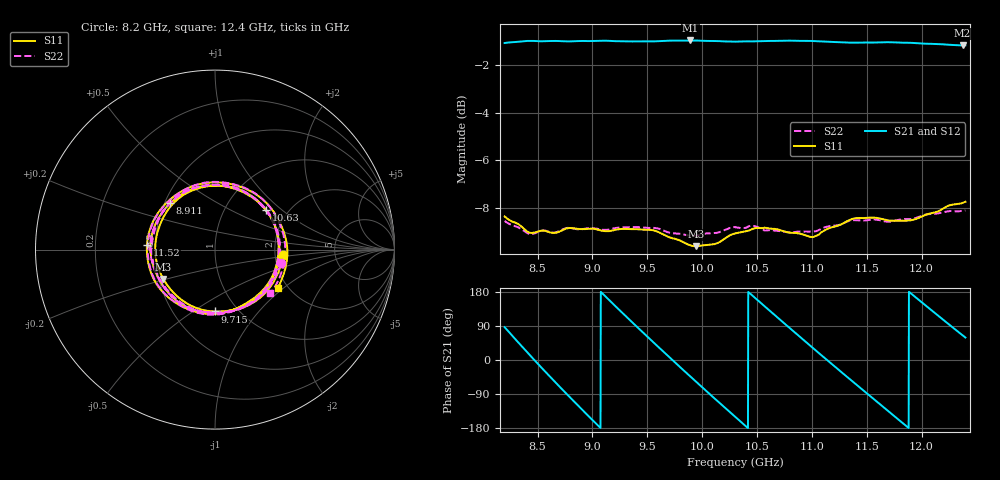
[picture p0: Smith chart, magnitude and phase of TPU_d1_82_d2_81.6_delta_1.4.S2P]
!Agilent Technologies,E5071C,MY46631589,B.13.30
!Date: Sun May 30 22:21:31 2021
!Data & Calibration Information:
!Freq	S11:SOLT2(ON)	S21:SOLT2(ON)	S12:SOLT2(ON)	S22:SOLT2(ON)
!PortZ  Port1:50+j0  Port2:50+j0
!Above PortZ is port z conversion or system Z0 setting when saving the data.
!When reading, reference impedance value at option line is always used.
# Hz S MA R 50
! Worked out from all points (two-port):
!   1601 points, 8.2 GHz to 12.4 GHz, reference 50 ohm
!   highest |S21| = -0.96 dB at 9.893 GHz (marker M1); lowest = -1.2 dB at 12.37 GHz (marker M2)
!   |S21| within 3 dB of the highest: start of sweep to end of sweep
!   lowest |S11| = -9.6 dB at 9.943 GHz (marker M3), VSWR 1.99, Z = 26.4 - j9.67 ohm
!   |S11| at or under -10 dB: nowhere
!   |S22| runs from -9.2 to -8.1 dB; largest |S21 - S12| = 0.0066
!   S11 on the Smith chart (normalised r, x): 8.2 GHz: 2.23, -0.14; 8.911 GHz: 0.54, +0.32; 9.715 GHz: 0.79, -0.62; 10.63 GHz: 1.56, +0.79; 11.52 GHz: 0.45, +0.03; 12.4 GHz: 1.77, -0.92
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8.2e9  0.3822 -4.2  0.8839 86.8  0.884 86.9  0.374 -11.7
8.5045e9  0.3554 -103.1  0.8919 -10.5  0.892 -10.4  0.3547 -107.4
8.70925e9  0.3561 -166.9  0.892 -72.9  0.8918 -72.8  0.3573 -169.4
8.900875e9  0.3594 136.9  0.8926 -129.4  0.8926 -129.3  0.3593 134.0
8.911375e9  0.3594 133.9  0.8927 -132.4  0.8927 -132.3  0.3596 130.9
9.105625e9  0.3561 76.9  0.8937 171.6  0.8938 171.7  0.3582 76.8
9.313e9  0.3598 16.7  0.8911 113.3  0.8911 113.4  0.3627 20.9
9.60175e9  0.3545 -60.4  0.8916 34.4  0.8916 34.5  0.3606 -59.2
9.714625e9  0.3447 -90.1  0.894 3.9  0.894 4.0  0.353 -90.0
9.893125e9  0.3323 -137.0  0.8949 -43.7  0.8949 -43.6  0.348 -137.2
9.943e9  0.3311 -150.5  0.8945 -56.9  0.8944 -56.8  0.3483 -150.1
1.011362e10  0.3344 163.6  0.8925 -101.5  0.8924 -101.5  0.3527 166.3
1.03e10  0.3521 116.0  0.8898 -149.5  0.886 -149.5  0.3631 117.6
1.063075e10  0.3602 37.4  0.8928 126.5  0.8922 126.6  0.3576 28.3
1.080925e10  0.3533 -7.8  0.8941 81.7  0.8937 81.8  0.354 -15.8
1.100088e10  0.346 -57.8  0.8928 33.9  0.8926 34.1  0.3554 -61.4
1.123188e10  0.3651 -116.1  0.8879 -22.7  0.8881 -22.7  0.3661 -118.3
1.1518e10  0.3799 176.2  0.8859 -91.9  0.8848 -91.9  0.3757 171.3
1.170175e10  0.3748 131.2  0.8873 -136.1  0.8861 -136.0  0.3725 128.3
1.198525e10  0.3805 59.9  0.8823 156.2  0.8819 156.3  0.3822 62.8
1.237375e10  0.4081 -25.9  0.8737 65.3  0.873 65.4  0.3928 -32.1
1.24e10  0.4102 -31.6  0.874 59.3  0.8734 59.4  0.3936 -38.4
